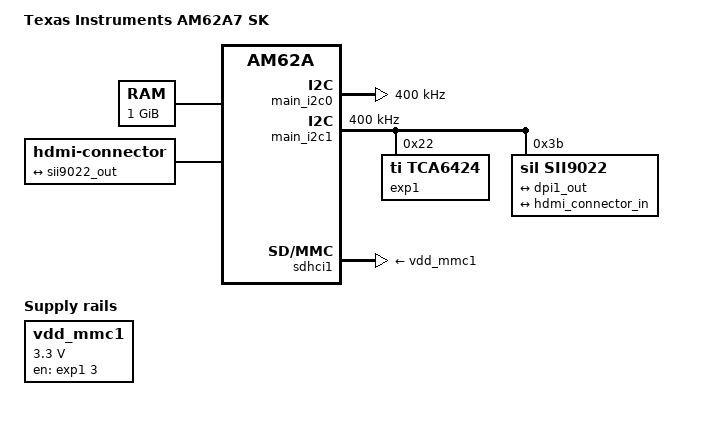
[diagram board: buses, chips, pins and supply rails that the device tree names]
// SPDX-License-Identifier: GPL-2.0
/*
 * AM62A SK: https://www.ti.com/lit/zip/sprrXYZ
 *
 * Copyright (C) 2022 Texas Instruments Incorporated - https://www.ti.com/
 */

/dts-v1/;

#include <dt-bindings/leds/common.h>
#include <dt-bindings/gpio/gpio.h>
#include <dt-bindings/net/ti-dp83867.h>
#include "k3-am62a7.dtsi"

/ {
	compatible =  "ti,am62a-sk", "ti,am62a7";
	model = "Texas Instruments AM62A7 SK";

	aliases {
		serial2 = &main_uart0;
		mmc0 = &sdhci0;
		mmc1 = &sdhci1;
	};

	chosen {
		stdout-path = "serial2:115200n8";
		bootargs = "console=ttyS2,115200n8 earlycon=ns16550a,mmio32,0x02800000";
	};

	memory@80000000 {
		device_type = "memory";
		reg = <0x00000000 0x80000000 0x00000000 0x40000000>; /* 1G RAM */
	};

	reserved-memory {
		#address-cells = <2>;
		#size-cells = <2>;
		ranges;

		secure_tfa_ddr: tfa@9e780000 {
			reg = <0x00 0x9e780000 0x00 0x80000>;
			alignment = <0x1000>;
			no-map;
		};

		secure_ddr: optee@9e800000 {
			reg = <0x00 0x9e800000 0x00 0x01800000>; /* for OP-TEE */
			alignment = <0x1000>;
			no-map;
		};


		dma_buf_phys {
			compatible = "ti,dma_buf_phys";
		};

		wkup_r5fss0_core0_dma_memory_region: r5f-dma-memory@9c800000 {
			compatible = "shared-dma-pool";
			reg = <0x00 0x9c800000 0x00 0x100000>;
			no-map;
		};

		wkup_r5fss0_core0_memory_region: r5f-dma-memory@9c900000 {
			compatible = "shared-dma-pool";
			reg = <0x00 0x9c900000 0x00 0x01e00000>;
			no-map;
		};

		lpm_ctx_ddr: lpm-memory@9e700000 {
			reg = <0x00 0x9e700000 0x00 0x80000>;
			alignment = <0x1000>;
			no-map;
		};

		c7x_0_dma_memory_region: c7x-dma-memory@99800000 {
			compatible = "shared-dma-pool";
			reg = <0x00 0x99800000 0x00 0x100000>;
			no-map;
		};

		c7x_0_memory_region: c7x-memory@99900000 {
			compatible = "shared-dma-pool";
			reg = <0x00 0x99900000 0x00 0x01efffff>;
			no-map;
		};
	};

	vdd_mmc1: regulator-1 {
		/* TPS22918DBVR */
		compatible = "regulator-fixed";
		regulator-name = "vdd_mmc1";
		regulator-min-microvolt = <3300000>;
		regulator-max-microvolt = <3300000>;
		regulator-boot-on;
		enable-active-high;
		gpio = <&exp1 3 GPIO_ACTIVE_HIGH>;
	};

	hdmi_mstrclk: hdmi-mstrclk {
		compatible = "fixed-clock";
		#clock-cells = <0>;
		clock-frequency = <12288000>;
	};

	hdmi: connector {
		compatible = "hdmi-connector";
		label = "hdmi";
		type = "a";
		port {
			hdmi_connector_in: endpoint {
				remote-endpoint = <&sii9022_out>;
			};
		};
	};
};

&main_pmx0 {
	main_uart0_pins_default: main-uart0-pins-default {
		pinctrl-single,pins = <
			AM62X_IOPAD(0x1c8, PIN_INPUT, 0) /* (D14) UART0_RXD */
			AM62X_IOPAD(0x1cc, PIN_OUTPUT, 0) /* (E14) UART0_TXD */
		>;
	};

	main_i2c0_pins_default: main-i2c0-pins-default {
		pinctrl-single,pins = <
			AM62X_IOPAD(0x1e0, PIN_INPUT_PULLUP, 0) /* (B16) I2C0_SCL */
			AM62X_IOPAD(0x1e4, PIN_INPUT_PULLUP, 0) /* (A16) I2C0_SDA */
		>;
	};

	main_i2c1_pins_default: main-i2c1-pins-default {
		pinctrl-single,pins = <
			AM62X_IOPAD(0x1e8, PIN_INPUT_PULLUP, 0) /* (B17) I2C1_SCL */
			AM62X_IOPAD(0x1ec, PIN_INPUT_PULLUP, 0) /* (A17) I2C1_SDA */
		>;
	};

	main_i2c2_pins_default: main-i2c2-pins-default {
		pinctrl-single,pins = <
			AM62X_IOPAD(0x0b0, PIN_INPUT_PULLUP, 1) /* (K22) GPMC0_CSn2.I2C2_SCL */
			AM62X_IOPAD(0x0b4, PIN_INPUT_PULLUP, 1) /* (K24) GPMC0_CSn3.I2C2_SDA */
		>;
	};

	main_mmc0_pins_default: main-mmc0-pins-default {
		pinctrl-single,pins = <
			AM62X_IOPAD(0x220, PIN_INPUT, 0) /* (Y3) MMC0_CMD */
			AM62X_IOPAD(0x218, PIN_INPUT, 0) /* (AB1) MMC0_CLK */
			AM62X_IOPAD(0x214, PIN_INPUT, 0) /* (AA2) MMC0_DAT0 */
			AM62X_IOPAD(0x210, PIN_INPUT, 0) /* (AA1) MMC0_DAT1 */
			AM62X_IOPAD(0x20c, PIN_INPUT, 0) /* (AA3) MMC0_DAT2 */
			AM62X_IOPAD(0x208, PIN_INPUT, 0) /* (Y4) MMC0_DAT3 */
			AM62X_IOPAD(0x204, PIN_INPUT, 0) /* (AB2) MMC0_DAT4 */
			AM62X_IOPAD(0x200, PIN_INPUT, 0) /* (AC1) MMC0_DAT5 */
			AM62X_IOPAD(0x1fc, PIN_INPUT, 0) /* (AD2) MMC0_DAT6 */
			AM62X_IOPAD(0x1f8, PIN_INPUT, 0) /* (AC2) MMC0_DAT7 */
		>;
	};

	main_mmc1_pins_default: main-mmc1-pins-default {
		pinctrl-single,pins = <
			AM62X_IOPAD(0x23c, PIN_INPUT, 0) /* (A21) MMC1_CMD */
			AM62X_IOPAD(0x234, PIN_INPUT, 0) /* (B22) MMC1_CLK */
			AM62X_IOPAD(0x230, PIN_INPUT, 0) /* (A22) MMC1_DAT0 */
			AM62X_IOPAD(0x22c, PIN_INPUT, 0) /* (B21) MMC1_DAT1 */
			AM62X_IOPAD(0x228, PIN_INPUT, 0) /* (C21) MMC1_DAT2 */
			AM62X_IOPAD(0x224, PIN_INPUT, 0) /* (D22) MMC1_DAT3 */
			AM62X_IOPAD(0x240, PIN_INPUT, 0) /* (D17) MMC1_SDCD */
		>;
	};

	main_dss0_pins_default: main-dss0-pins-default {
		pinctrl-single,pins = <
			AM62X_IOPAD(0x100, PIN_OUTPUT, 0) /* (V17) VOUT0_VSYNC */
			AM62X_IOPAD(0x0f8, PIN_OUTPUT, 0) /* (T18) VOUT0_HSYNC */
			AM62X_IOPAD(0x104, PIN_OUTPUT, 0) /* (AA22) VOUT0_PCLK */
			AM62X_IOPAD(0x0fc, PIN_OUTPUT, 0) /* (U17) VOUT0_DE */
			AM62X_IOPAD(0x0b8, PIN_OUTPUT, 0) /* (U22) VOUT0_DATA0 */
			AM62X_IOPAD(0x0bc, PIN_OUTPUT, 0) /* (U21) VOUT0_DATA1 */
			AM62X_IOPAD(0x0c0, PIN_OUTPUT, 0) /* (U20) VOUT0_DATA2 */
			AM62X_IOPAD(0x0c4, PIN_OUTPUT, 0) /* (U19) VOUT0_DATA3 */
			AM62X_IOPAD(0x0c8, PIN_OUTPUT, 0) /* (T19) VOUT0_DATA4 */
			AM62X_IOPAD(0x0cc, PIN_OUTPUT, 0) /* (U18) VOUT0_DATA5 */
			AM62X_IOPAD(0x0d0, PIN_OUTPUT, 0) /* (V22) VOUT0_DATA6 */
			AM62X_IOPAD(0x0d4, PIN_OUTPUT, 0) /* (V21) VOUT0_DATA7 */
			AM62X_IOPAD(0x0d8, PIN_OUTPUT, 0) /* (V19) VOUT0_DATA8 */
			AM62X_IOPAD(0x0dc, PIN_OUTPUT, 0) /* (V18) VOUT0_DATA9 */
			AM62X_IOPAD(0x0e0, PIN_OUTPUT, 0) /* (W22) VOUT0_DATA10 */
			AM62X_IOPAD(0x0e4, PIN_OUTPUT, 0) /* (W21) VOUT0_DATA11 */
			AM62X_IOPAD(0x0e8, PIN_OUTPUT, 0) /* (W20) VOUT0_DATA12 */
			AM62X_IOPAD(0x0ec, PIN_OUTPUT, 0) /* (W19) VOUT0_DATA13 */
			AM62X_IOPAD(0x0f0, PIN_OUTPUT, 0) /* (Y21) VOUT0_DATA14 */
			AM62X_IOPAD(0x0f4, PIN_OUTPUT, 0) /* (Y22) VOUT0_DATA15 */
			AM62X_IOPAD(0x05c, PIN_OUTPUT, 1) /* (P22) GPMC0_AD8.VOUT0_DATA16 */
			AM62X_IOPAD(0x060, PIN_OUTPUT, 1) /* (R19) GPMC0_AD9.VOUT0_DATA17 */
			AM62X_IOPAD(0x064, PIN_OUTPUT, 1) /* (R20) GPMC0_AD10.VOUT0_DATA18 */
			AM62X_IOPAD(0x068, PIN_OUTPUT, 1) /* (R22) GPMC0_AD11.VOUT0_DATA19 */
			AM62X_IOPAD(0x06c, PIN_OUTPUT, 1) /* (T22) GPMC0_AD12.VOUT0_DATA20 */
			AM62X_IOPAD(0x070, PIN_OUTPUT, 1) /* (R21) GPMC0_AD13.VOUT0_DATA21 */
			AM62X_IOPAD(0x074, PIN_OUTPUT, 1) /* (T20) GPMC0_AD14.VOUT0_DATA22 */
			AM62X_IOPAD(0x078, PIN_OUTPUT, 1) /* (T21) GPMC0_AD15.VOUT0_DATA23 */
		>;
	};
};

&wkup_i2c0 {
	status = "disabled";
};

&wkup_uart0 {
	/* WKUP UART0 is used by DM firmware */
	status = "reserved";
};

/* wkup_conf */

&wkup_rtc0 {
	status = "disabled";
};

&cbass_mcu {
	status = "disabled";
};

/* dmss */

&main_pktdma {
	status = "disabled";
};

&main_bcdma {
	status = "disabled";
};

/* inta_main_dmss */
/* secure_proxy_main */

&fss {
	status = "disabled";
};

&main_mcan0 {
	status = "disabled";
};

&crypto {
	status = "disabled";
};

&usbss0 {
	status = "disabled";
};

&usbss1 {
	status = "disabled";
};

&cpsw3g {
	status = "disabled";
};

&main_gpio0 {
	status = "disabled";
};

&main_gpio1 {
	status = "disabled";
};

&main_i2c0 {
	pinctrl-names = "default";
	pinctrl-0 = <&main_i2c0_pins_default>;
	clock-frequency = <400000>;
};

&main_i2c1 {
	pinctrl-names = "default";
	pinctrl-0 = <&main_i2c1_pins_default>;
	clock-frequency = <400000>;

	exp1: gpio@22 {
		compatible = "ti,tca6424";
		reg = <0x22>;
		gpio-controller;
		#gpio-cells = <2>;
	};

	sii9022: sii9022@3b {
		compatible = "sil,sii9022";
		reg = <0x3b>;

		clocks = <&hdmi_mstrclk>;
		clock-names = "mclk";

		//interrupt-parent = <&exp1>;
		//interrupts = <16 IRQ_TYPE_EDGE_FALLING>;

		ports {
			#address-cells = <1>;
			#size-cells = <0>;

			port@0 {
				reg = <0>;

				sii9022_in: endpoint {
					remote-endpoint = <&dpi1_out>;
				};
			};

			port@1 {
				reg = <1>;

				sii9022_out: endpoint {
					remote-endpoint = <&hdmi_connector_in>;
				};
			};
		};
	};
};

&main_i2c2 {
	status = "disabled";
};

&main_i2c3 {
	status = "disabled";
};

/* gic500 */
/* gic_its */
/* main_gpio_intr */

&mailbox0_cluster0 {
	mbox_r5_0: mbox-r5-0 {
		ti,mbox-rx = <0 0 0>;
		ti,mbox-tx = <1 0 0>;
	};

	mbox_c7x_0: mbox-c7x-0 {
		ti,mbox-rx = <2 0 0>;
		ti,mbox-tx = <3 0 0>;
	};
};

&c7x_0 {
	mboxes = <&mailbox0_cluster0 &mbox_c7x_0>;
	memory-region = <&c7x_0_dma_memory_region>,
			<&c7x_0_memory_region>;
};

&wkup_r5fss0_core0 {
    mboxes = <&mailbox0_cluster0 &mbox_r5_0>;
    memory-region = <&wkup_r5fss0_core0_dma_memory_region>,
            <&wkup_r5fss0_core0_memory_region>;
};

&mcasp0 {
	status = "disabled";
};

&mcasp1 {
	status = "disabled";
};

&mcasp2 {
	status = "disabled";
};

&sdhci1 {
	/* SD/MMC */
	vmmc-supply = <&vdd_mmc1>;
	vqmmc-supply = <&vdd_mmc1>;
	pinctrl-names = "default";
	pinctrl-0 = <&main_mmc1_pins_default>;
	ti,driver-strength-ohm = <50>;
	disable-wp;
};

&sdhci0 {
	status = "disabled";
};

&sdhci2 {
	status = "disabled";
};

&dphy0 {
	status = "disabled";
};


&epwm0 {
	status = "disabled";
};

&epwm1 {
	status = "disabled";
};

&epwm2 {
	status = "disabled";
};

&ecap0 {
	status = "disabled";
};

&ecap1 {
	status = "disabled";
};

&ecap2 {
	status = "disabled";
};

&main_uart0 {
	pinctrl-names = "default";
	pinctrl-0 = <&main_uart0_pins_default>;
};

&main_uart1 {
	/* Main UART1 is used by TIFS firmware */
	status = "reserved";
};

&main_uart2 {
	status = "disabled";
};

&main_uart3 {
	status = "disabled";
};

&main_uart4 {
	status = "disabled";
};

&main_uart5 {
	status = "disabled";
};

&main_uart6 {
	status = "disabled";
};

&main_spi0 {
	status = "disabled";
};

&main_spi1 {
	status = "disabled";
};

&main_spi2 {
	status = "disabled";
};

/* hwspinlock */
/* oc_sram */
/* main_conf */
/* epwm_tbclk */
/* phy_gmii_sel */
/* dmsc */

&ti_csi2rx0 {
	status = "disabled";
};

&dss {
	pinctrl-names = "default";
	pinctrl-0 = <&main_dss0_pins_default>;
};

&dss_ports {
	/* VP2: DPI Output */
	port@1 {
		reg = <1>;

		dpi1_out: endpoint {
			remote-endpoint = <&sii9022_in>;
		};
	};
};

/* L2_0 */
/* pmu */
/* a53_timer0 */
